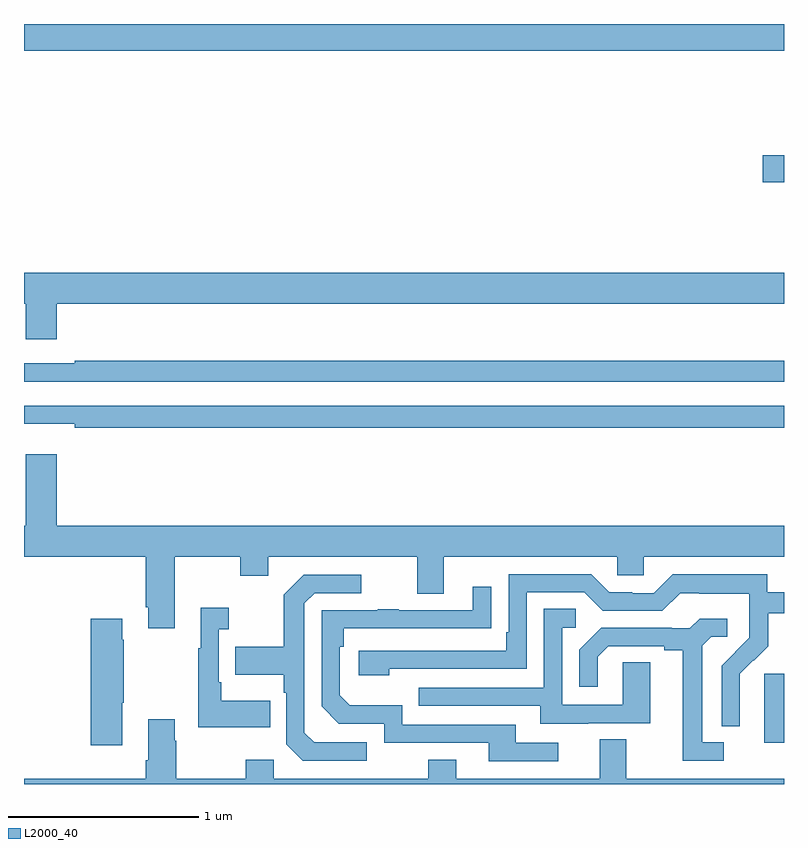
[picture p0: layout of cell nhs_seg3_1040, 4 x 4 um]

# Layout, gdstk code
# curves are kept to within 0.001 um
import gdstk
lib = gdstk.Library(unit=1e-6, precision=1e-09)
def R(c, l, rs):  # rectangles x0, y0, x1, y1
    for r in rs: c.add(gdstk.rectangle(r[:2], r[2:], *l))
def P(c, l, *ps):  # polygons
    for p in ps: c.add(gdstk.Polygon(p, *l))
L2000_40 = (2000, 40)

nhs_seg3_1040 = lib.new_cell('nhs_seg3_1040')
R(nhs_seg3_1040, L2000_40, [(168.896,686.618,169,686.979), (168.888,689.566,169,689.708), (165,690.26,169,690.4)])
P(nhs_seg3_1040, L2000_40, [(165.172,688.928),(169,688.928),(169,689.092),(165,689.092),(165,688.928),(165.008,688.928),(165.008,688.74),(165.172,688.74)],
  [(169,688.627),(165.268,688.627),(165.268,688.614),(165,688.614),(165,688.518),(169,688.518)],
  [(169,688.392),(165,688.392),(165,688.295),(165.268,688.295),(165.268,688.276),(169,688.276)],
  [(165.793,687.596),(166.138,687.596),(166.138,687.497),(166.285,687.497),(166.285,687.596),(167.069,687.596),(167.069,687.402),(167.209,687.402),(167.209,687.596),(168.123,687.596),(168.123,687.498),(168.261,687.498),(168.261,687.596),(169,687.596),(169,687.76),(165.172,687.76),(165.172,688.135),(165.008,688.135),(165.008,687.76),(165,687.76),(165,687.596),(165.641,687.596),(165.641,687.331),(165.653,687.331),(165.653,687.219),(165.793,687.219)],
  [(168.768,686.858),(168.767,686.981),(168.837,687.051),(168.84,687.048),(168.917,687.125),(168.917,687.3),(169,687.3),(169,687.408),(168.912,687.408),(168.912,687.505),(168.415,687.505),(168.315,687.405),(168.2,687.405),(168.2,687.408),(168.081,687.408),(167.985,687.504),(167.55,687.504),(167.55,687.199),(167.537,687.199),(167.537,687.102),(166.761,687.102),(166.761,686.972),(166.922,686.972),(166.922,687.006),(167.646,687.006),(167.646,687.408),(167.949,687.408),(168.045,687.312),(168.36,687.312),(168.453,687.405),(168.553,687.405),(168.553,687.401),(168.816,687.401),(168.816,687.267),(168.818,687.267),(168.818,687.17),(168.672,687.022),(168.672,686.704),(168.768,686.704)],
  [(166.804,686.619),(166.527,686.619),(166.476,686.67),(166.476,687.351),(166.53,687.405),(166.774,687.405),(166.774,687.501),(166.473,687.501),(166.368,687.395),(166.368,687.123),(166.111,687.123),(166.111,686.975),(166.368,686.975),(166.368,686.879),(166.38,686.879),(166.38,686.61),(166.467,686.523),(166.804,686.523)],
  [(167.812,686.616),(167.587,686.616),(167.587,686.712),(166.992,686.712),(166.992,686.815),(166.715,686.815),(166.662,686.868),(166.662,687.122),(166.682,687.122),(166.682,687.219),(167.459,687.22),(167.459,687.439),(167.363,687.439),(167.363,687.315),(166.973,687.315),(166.973,687.32),(166.861,687.32),(166.861,687.315),(166.566,687.315),(166.566,686.808),(166.656,686.718),(166.896,686.718),(166.896,686.616),(167.447,686.616),(167.447,686.52),(167.812,686.52)],
  [(166.295,686.839),(166.039,686.839),(166.039,686.935),(166.026,686.935),(166.026,687.215),(166.078,687.215),(166.078,687.328),(165.929,687.328),(165.929,687.115),(165.918,687.115),(165.918,686.699),(166.295,686.699)],
  [(167.971,686.721),(168.295,686.721),(168.295,687.041),(168.15,687.041),(168.15,686.817),(167.832,686.817),(167.832,687.222),(167.905,687.222),(167.905,687.323),(167.736,687.323),(167.736,686.907),(167.077,686.907),(167.077,686.811),(167.717,686.811),(167.717,686.717),(167.971,686.717)],
  [(165.517,686.827),(165.525,686.827),(165.525,687.158),(165.517,687.158),(165.517,687.271),(165.35,687.271),(165.35,686.604),(165.517,686.604)],
  [(168.682,686.619),(168.571,686.619),(168.571,687.127),(168.618,687.174),(168.7,687.174),(168.7,687.271),(168.556,687.271),(168.504,687.219),(168.41,687.219),(168.41,687.222),(168.038,687.222),(167.922,687.106),(167.922,686.913),(168.019,686.913),(168.019,687.069),(168.076,687.126),(168.371,687.126),(168.371,687.104),(168.467,687.104),(168.467,686.523),(168.682,686.523)],
  [(169,686.428),(168.169,686.428),(168.169,686.636),(168.029,686.636),(168.029,686.428),(167.275,686.428),(167.275,686.527),(167.128,686.527),(167.128,686.428),(166.314,686.428),(166.314,686.527),(166.168,686.527),(166.168,686.428),(165.801,686.428),(165.801,686.627),(165.793,686.627),(165.793,686.74),(165.653,686.74),(165.653,686.524),(165.641,686.524),(165.641,686.428),(165,686.428),(165,686.4),(169,686.4)])

lib.write_gds('nhs_seg3_1040.gds')
